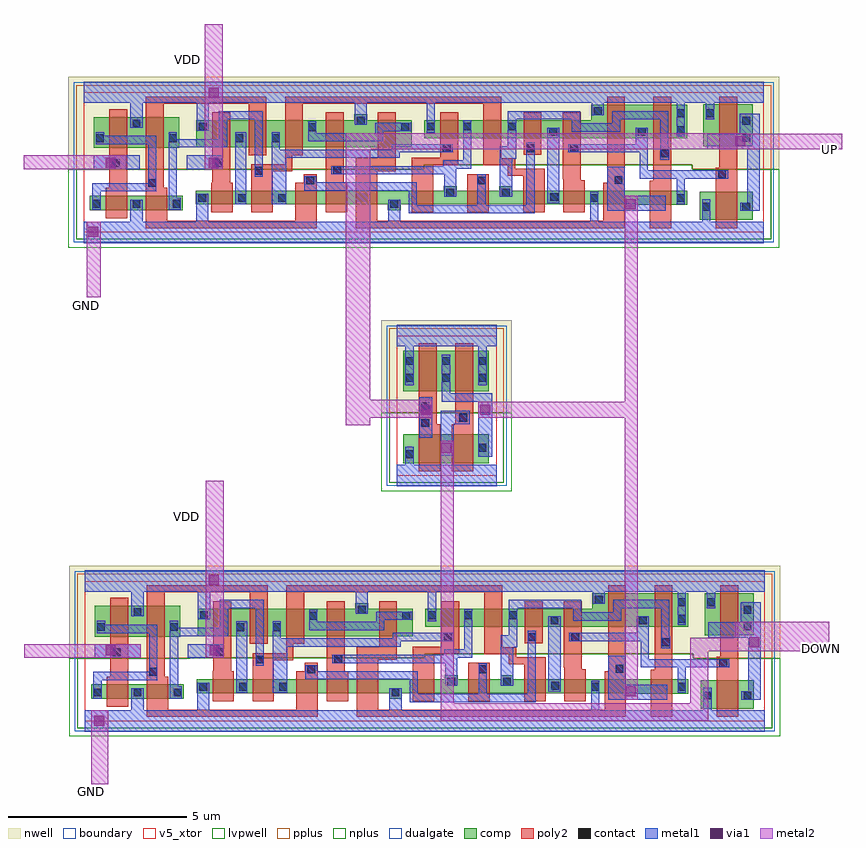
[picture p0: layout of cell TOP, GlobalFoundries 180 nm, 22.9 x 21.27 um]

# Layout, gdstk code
import gdstk
lib = gdstk.Library(unit=1e-6, precision=1e-09)
def R(c, l, rs):  # rectangles x0, y0, x1, y1
    for r in rs: c.add(gdstk.rectangle(r[:2], r[2:], *l))
def A(c, l, x, y, w, h, nx, ny, dx, dy):  # array of equal rectangles
    R(c, l, [(x+i*dx, y+j*dy, x+i*dx+w, y+j*dy+h) for i in range(nx) for j in range(ny)])
def P(c, l, *ps):  # polygons
    for p in ps: c.add(gdstk.Polygon(p, *l))
boundary = (0, 0)
nwell = (21, 0)
comp = (22, 0)
poly2 = (30, 0)
pplus = (31, 0)
nplus = (32, 0)
contact = (33, 0)
metal1 = (34, 0)
via1 = (35, 0)
metal2 = (36, 0)
dualgate = (55, 0)
v5_xtor = (112, 1)
lvpwell = (204, 0)

gf180mcu_fd_sc_mcu7t5v0_ = lib.new_cell('gf180mcu_fd_sc_mcu7t5v0__dffnrnq_1')
R(gf180mcu_fd_sc_mcu7t5v0_, boundary, [(0,0,19.04,3.92)])
P(gf180mcu_fd_sc_mcu7t5v0_, nwell, [(-0.43,1.76),(-0.43,4.35),(19.47,4.35),(19.47,1.76),(17.04,1.76),(17.04,1.885),(9.525,1.885),(9.525,1.77),(2.96,1.77),(2.96,1.76)])
R(gf180mcu_fd_sc_mcu7t5v0_, comp, [(17.25,0.345,18.73,1.14), (0.18,0.62,2.78,1.025), (0.28,2.36,2.68,3.225), (17.35,2.405,18.73,3.58)])
P(gf180mcu_fd_sc_mcu7t5v0_, comp, [(3.16,2.38),(3.16,3.14),(7.58,3.14),(7.58,3.3),(7.94,3.3),(7.94,3.14),(9.18,3.14),(9.18,2.38)],
  [(8.52,0.62),(8.52,0.78),(3.14,0.78),(3.14,1.17),(10.08,1.17),(10.08,1.285),(10.44,1.285),(10.44,1.17),(11.64,1.17),(11.64,1.285),(12,1.285),(12,1.17),(16.89,1.17),(16.89,0.77),(15.45,0.77),(15.45,0.78),(8.88,0.78),(8.88,0.62)],
  [(9.54,2.635),(9.54,3.14),(14.21,3.14),(14.21,3.575),(16.89,3.575),(16.89,2.635)])
R(gf180mcu_fd_sc_mcu7t5v0_, poly2, [(10.74,0.56,11.34,1.63), (12.315,2.175,12.815,3.36)])
P(gf180mcu_fd_sc_mcu7t5v0_, poly2, [(0.62,0.4),(0.62,1.245),(0.72,1.245),(0.72,3.45),(1.22,3.45),(1.22,0.4)],
  [(3.58,0.56),(3.58,1.39),(3.6,1.39),(3.6,3.36),(4.1,3.36),(4.1,1.39),(4.18,1.39),(4.18,0.56)],
  [(1.74,0.12),(1.74,3.8),(5.12,3.8),(5.12,2.16),(4.62,2.16),(4.62,3.6),(2.24,3.6),(2.24,1.245),(2.34,1.245),(2.34,0.32),(5.92,0.32),(5.92,1.39),(6.16,1.39),(6.16,1.63),(6.52,1.63),(6.52,0.12)],
  [(6.78,0.56),(6.78,3.36),(7.28,3.36),(7.28,1.39),(7.38,1.39),(7.38,0.56)],
  [(9.18,0.56),(9.18,2.08),(9.98,2.08),(9.98,3.36),(10.48,3.36),(10.48,1.88),(9.78,1.88),(9.78,0.56)],
  [(4.7,0.56),(4.7,1.905),(5.64,1.905),(5.64,3.8),(11.69,3.8),(11.69,2.07),(12.075,2.07),(12.075,1.785),(12.91,1.785),(12.91,0.56),(12.31,0.56),(12.31,1.585),(11.875,1.585),(11.875,1.87),(11.19,1.87),(11.19,3.6),(6.14,3.6),(6.14,2.16),(5.84,2.16),(5.84,1.705),(5.3,1.705),(5.3,0.56)],
  [(13.43,0.56),(13.43,1.505),(13.41,1.505),(13.41,3.36),(13.91,3.36),(13.91,1.455),(14.03,1.455),(14.03,0.56)],
  [(7.62,0.12),(7.62,2.08),(8.24,2.08),(8.24,3.36),(8.74,3.36),(8.74,1.715),(8.22,1.715),(8.22,0.32),(14.55,0.32),(14.55,1.39),(14.65,1.39),(14.65,3.8),(15.15,3.8),(15.15,0.12)],
  [(15.85,0.12),(15.85,1.44),(15.95,1.44),(15.95,3.8),(16.45,3.8),(16.45,0.12)],
  [(17.69,0.12),(17.69,1.8),(17.79,1.8),(17.79,3.8),(18.29,3.8),(18.29,0.12)])
P(gf180mcu_fd_sc_mcu7t5v0_, pplus, [(-0.2,1.76),(-0.2,4.12),(19.24,4.12),(19.24,1.76),(17.04,1.76),(17.04,1.885),(9.525,1.885),(9.525,1.77),(2.96,1.77),(2.96,1.76)])
P(gf180mcu_fd_sc_mcu7t5v0_, nplus, [(-0.2,-0.2),(-0.2,1.76),(2.96,1.76),(2.96,1.77),(9.525,1.77),(9.525,1.885),(17.04,1.885),(17.04,1.76),(19.24,1.76),(19.24,-0.2)])
A(gf180mcu_fd_sc_mcu7t5v0_, contact, 0.25, 0.69, 0.22, 0.22, 3, 1, 1.12, 0)
A(gf180mcu_fd_sc_mcu7t5v0_, contact, 3.21, 0.85, 0.22, 0.22, 3, 1, 1.12, 0)
R(gf180mcu_fd_sc_mcu7t5v0_, contact, [(17.32,0.605,17.54,0.825), (18.44,0.605,18.66,0.825), (8.59,0.69,8.81,0.91), (14.18,0.85,14.4,1.07), (16.6,0.85,16.82,1.07), (13.06,0.88,13.28,1.1), (10.15,0.995,10.37,1.215), (11.71,0.995,11.93,1.215), (1.81,1.27,2.03,1.49), (6.23,1.34,6.45,1.56), (11.03,1.34,11.25,1.56), (14.86,1.355,15.08,1.575), (17.76,1.51,17.98,1.73), (4.79,1.615,5.01,1.835), (6.99,1.63,7.21,1.85), (0.79,1.82,1.01,2.04), (3.67,1.835,3.89,2.055), (16.16,2.095,16.38,2.315), (10.05,2.245,10.27,2.465), (12.4,2.245,12.62,2.465), (13.62,2.245,13.84,2.465), (4.25,2.52,4.47,2.74), (5.27,2.52,5.49,2.74), (0.35,2.525,0.57,2.745), (2.39,2.525,2.61,2.745), (18.44,2.54,18.66,2.76), (13.04,2.705,13.26,2.925), (15.51,2.705,15.73,2.925), (16.6,2.75,16.82,2.97), (6.29,2.835,6.51,3.055), (8.89,2.835,9.11,3.055), (3.23,2.85,3.45,3.07), (9.61,2.85,9.83,3.07), (10.63,2.85,10.85,3.07), (11.88,2.85,12.1,3.07), (1.37,2.935,1.59,3.155), (7.65,3.01,7.87,3.23), (18.44,3.01,18.66,3.23), (16.6,3.22,16.82,3.44), (17.42,3.22,17.64,3.44), (14.28,3.285,14.5,3.505)])
R(gf180mcu_fd_sc_mcu7t5v0_, metal1, [(4.245,0.79,4.555,2.8), (12.98,0.82,13.32,2.93), (0.29,1.77,1.575,2.15), (2.89,1.77,3.895,2.15)])
P(gf180mcu_fd_sc_mcu7t5v0_, metal1, [(0.245,0.63),(0.245,1.375),(1.805,1.375),(1.805,2.465),(0.345,2.465),(0.345,2.805),(0.575,2.805),(0.575,2.7),(2.035,2.7),(2.035,1.145),(0.475,1.145),(0.475,0.63)],
  [(2.385,0.63),(2.385,2.805),(2.615,2.805),(2.615,2.61),(3.785,2.61),(3.785,3.39),(5.015,3.39),(5.015,1.555),(4.785,1.555),(4.785,3.16),(4.015,3.16),(4.015,2.38),(2.615,2.38),(2.615,0.97),(2.715,0.97),(2.715,0.63)],
  [(6.285,2.545),(6.285,3.115),(6.515,3.115),(6.515,2.775),(8.16,2.775),(8.16,3.06),(9.17,3.06),(9.17,2.83),(8.39,2.83),(8.39,2.545)],
  [(5.265,0.79),(5.265,2.8),(5.495,2.8),(5.495,2.315),(8.62,2.315),(8.62,2.47),(10.33,2.47),(10.33,2.24),(8.85,2.24),(8.85,2.085),(5.675,2.085),(5.675,0.79)],
  [(10.09,0.99),(10.09,1.625),(6.93,1.625),(6.93,1.855),(10.06,1.855),(10.06,2.01),(10.625,2.01),(10.625,3.13),(10.855,3.13),(10.855,1.78),(10.43,1.78),(10.43,0.99)],
  [(9.1,0.53),(9.1,1.165),(6.17,1.165),(6.17,1.565),(6.515,1.565),(6.515,1.395),(9.33,1.395),(9.33,0.76),(11.025,0.76),(11.025,1.62),(11.255,1.62),(11.255,0.76),(12.395,0.76),(12.395,2.525),(12.625,2.525),(12.625,0.53)],
  [(14.65,0.6),(14.65,1.83),(15.14,1.83),(15.14,1.02),(16.3,1.02),(16.3,0.6)],
  [(11.645,0.99),(11.645,2.405),(11.875,2.405),(11.875,3.39),(13.9,3.39),(13.9,3.05),(14.79,3.05),(14.79,3.39),(16.365,3.39),(16.365,2.375),(16.385,2.375),(16.385,2.035),(16.135,2.035),(16.135,3.16),(15.02,3.16),(15.02,2.815),(13.67,2.815),(13.67,3.16),(12.105,3.16),(12.105,2.065),(11.995,2.065),(11.995,0.99)],
  [(16.595,0.79),(16.595,1.505),(15.56,1.505),(15.56,2.235),(13.56,2.235),(13.56,2.47),(15.45,2.47),(15.45,2.93),(15.79,2.93),(15.79,1.735),(18.04,1.735),(18.04,1.505),(16.825,1.505),(16.825,0.79)],
  [(18.38,0.6),(18.38,0.83),(18.57,0.83),(18.57,2.33),(17.45,2.33),(17.45,2.765),(18.365,2.765),(18.365,3.32),(18.92,3.32),(18.92,0.6)],
  [(0,-0.3),(0,0.3),(1.31,0.3),(1.31,0.915),(1.65,0.915),(1.65,0.3),(3.15,0.3),(3.15,1.075),(3.49,1.075),(3.49,0.3),(8.53,0.3),(8.53,0.915),(8.87,0.915),(8.87,0.3),(14.175,0.3),(14.175,1.13),(14.405,1.13),(14.405,0.3),(17.315,0.3),(17.315,0.93),(17.545,0.93),(17.545,0.3),(19.04,0.3),(19.04,-0.3)],
  [(16.595,2.69),(16.595,3.62),(14.56,3.62),(14.56,3.28),(14.22,3.28),(14.22,3.62),(9.835,3.62),(9.835,2.79),(9.605,2.79),(9.605,3.62),(7.93,3.62),(7.93,3.005),(7.59,3.005),(7.59,3.62),(3.51,3.62),(3.51,2.845),(3.17,2.845),(3.17,3.62),(1.65,3.62),(1.65,2.93),(1.31,2.93),(1.31,3.62),(0,3.62),(0,4.22),(19.04,4.22),(19.04,3.62),(17.645,3.62),(17.645,3.16),(17.415,3.16),(17.415,3.62),(16.825,3.62),(16.825,2.69)])
R(gf180mcu_fd_sc_mcu7t5v0_, dualgate, [(-0.28,-0.28,19.32,4.2)])
R(gf180mcu_fd_sc_mcu7t5v0_, v5_xtor, [(0,0,19.04,3.92)])
P(gf180mcu_fd_sc_mcu7t5v0_, lvpwell, [(-0.43,-0.43),(-0.43,1.76),(2.96,1.76),(2.96,1.77),(9.525,1.77),(9.525,1.885),(17.04,1.885),(17.04,1.76),(19.47,1.76),(19.47,-0.43)])
gf180mcu_fd_sc_mcu7t5v0_.add(gdstk.Label('D', (3.64,1.96), layer=34, texttype=10))
gf180mcu_fd_sc_mcu7t5v0_.add(gdstk.Label('VSS', (1.4,0), layer=34, texttype=10))
gf180mcu_fd_sc_mcu7t5v0_.add(gdstk.Label('CLKN', (0.84,1.96), layer=34, texttype=10))
gf180mcu_fd_sc_mcu7t5v0_.add(gdstk.Label('RN', (15.4,0.84), layer=34, texttype=10))
gf180mcu_fd_sc_mcu7t5v0_.add(gdstk.Label('Q', (18.76,1.96), layer=34, texttype=10))
gf180mcu_fd_sc_mcu7t5v0_.add(gdstk.Label('VDD', (1.4,3.92), layer=34, texttype=10))
gf180mcu_fd_sc_mcu7t5v0_.add(gdstk.Label('& Vendor GLOBALFOUNDRIES', (0,2), layer=63, texttype=63))
gf180mcu_fd_sc_mcu7t5v0_.add(gdstk.Label('& Product GF018hv5v_mcu_sc7', (0,1.5), layer=63, texttype=63))
gf180mcu_fd_sc_mcu7t5v0_.add(gdstk.Label('& Version 2015q2v1', (0,1), layer=63, texttype=63))
gf180mcu_fd_sc_mcu7t5v0_.add(gdstk.Label('& Metric 1.00', (0,0.5), layer=63, texttype=63))
gf180mcu_fd_sc_mcu7t5v0_.add(gdstk.Label('VNW', (0.345,3.92), layer=21, texttype=10))
gf180mcu_fd_sc_mcu7t5v0_.add(gdstk.Label('VPW', (0.34,-0.085), layer=204, texttype=10))

c_gf180mcu_fd_sc_mcu7t5v0_ = lib.new_cell('gf180mcu_fd_sc_mcu7t5v0__nand2_1')
R(c_gf180mcu_fd_sc_mcu7t5v0_, boundary, [(0,0,2.8,3.92)])
R(c_gf180mcu_fd_sc_mcu7t5v0_, nwell, [(-0.43,1.76,3.23,4.35)])
R(c_gf180mcu_fd_sc_mcu7t5v0_, comp, [(0.185,0.34,2.585,1.16), (0.185,2.36,2.585,3.49)])
P(c_gf180mcu_fd_sc_mcu7t5v0_, poly2, [(0.625,0.12),(0.625,3.71),(1.125,3.71),(1.125,1.44),(1.225,1.44),(1.225,0.12)],
  [(1.545,0.12),(1.545,1.44),(1.645,1.44),(1.645,3.71),(2.145,3.71),(2.145,0.12)])
R(c_gf180mcu_fd_sc_mcu7t5v0_, pplus, [(-0.2,1.76,3,4.12)])
R(c_gf180mcu_fd_sc_mcu7t5v0_, nplus, [(-0.2,-0.2,3,1.76)])
A(c_gf180mcu_fd_sc_mcu7t5v0_, contact, 0.255, 2.63, 0.22, 0.22, 3, 2, 1.02, 0.47)
R(c_gf180mcu_fd_sc_mcu7t5v0_, contact, [(0.255,0.485,0.475,0.705), (2.295,0.675,2.515,0.895), (0.695,1.365,0.915,1.585), (1.755,1.515,1.975,1.735), (0.695,1.835,0.915,2.055)])
R(c_gf180mcu_fd_sc_mcu7t5v0_, metal1, [(0.635,1.06,1,2.19)])
P(c_gf180mcu_fd_sc_mcu7t5v0_, metal1, [(1.24,0.555),(1.24,1.82),(2.055,1.82),(2.055,1.44),(1.605,1.44),(1.605,0.555)],
  [(2.29,0.53),(2.29,2.07),(1.27,2.07),(1.27,3.38),(1.5,3.38),(1.5,2.3),(2.68,2.3),(2.68,0.53)],
  [(0,-0.3),(0,0.3),(0.25,0.3),(0.25,0.805),(0.48,0.805),(0.48,0.3),(2.8,0.3),(2.8,-0.3)],
  [(0.25,2.53),(0.25,3.62),(0,3.62),(0,4.22),(2.8,4.22),(2.8,3.62),(2.52,3.62),(2.52,2.53),(2.29,2.53),(2.29,3.62),(0.48,3.62),(0.48,2.53)])
R(c_gf180mcu_fd_sc_mcu7t5v0_, dualgate, [(-0.28,-0.28,3.08,4.2)])
R(c_gf180mcu_fd_sc_mcu7t5v0_, v5_xtor, [(0,0,2.8,3.92)])
R(c_gf180mcu_fd_sc_mcu7t5v0_, lvpwell, [(-0.43,-0.43,3.23,1.76)])
c_gf180mcu_fd_sc_mcu7t5v0_.add(gdstk.Label('VDD', (1.4,3.905), layer=34, texttype=10))
c_gf180mcu_fd_sc_mcu7t5v0_.add(gdstk.Label('VSS', (1.4,-0.015), layer=34, texttype=10))
c_gf180mcu_fd_sc_mcu7t5v0_.add(gdstk.Label('ZN', (2.52,1.96), layer=34, texttype=10))
c_gf180mcu_fd_sc_mcu7t5v0_.add(gdstk.Label('A1', (1.4,1.4), layer=34, texttype=10))
c_gf180mcu_fd_sc_mcu7t5v0_.add(gdstk.Label('A2', (0.84,1.4), layer=34, texttype=10))
c_gf180mcu_fd_sc_mcu7t5v0_.add(gdstk.Label('& Vendor GLOBALFOUNDRIES', (0,2), layer=63, texttype=63))
c_gf180mcu_fd_sc_mcu7t5v0_.add(gdstk.Label('& Product GF018hv5v_mcu_sc7', (0,1.5), layer=63, texttype=63))
c_gf180mcu_fd_sc_mcu7t5v0_.add(gdstk.Label('& Version 2015q2v1', (0,1), layer=63, texttype=63))
c_gf180mcu_fd_sc_mcu7t5v0_.add(gdstk.Label('& Metric 1.00', (0,0.5), layer=63, texttype=63))
c_gf180mcu_fd_sc_mcu7t5v0_.add(gdstk.Label('VNW', (0.345,3.92), layer=21, texttype=10))
c_gf180mcu_fd_sc_mcu7t5v0_.add(gdstk.Label('VPW', (0.34,-0.085), layer=204, texttype=10))

top = lib.new_cell('TOP')
R(top, via1, [(-2.785,-3.085,-2.505,-2.805), (12.09,-2.26,12.37,-1.98), (-2.47,-1.1,-2.19,-0.82), (0.44,-1.1,0.72,-0.82), (15.54,-0.88,15.82,-0.6), (0.41,0.87,0.69,1.15), (6.92,4.56,7.2,4.84), (6.35,5.62,6.63,5.9), (8.01,5.62,8.29,5.9), (-2.96,10.6,-2.68,10.88), (12.09,11.37,12.37,11.65), (-2.47,12.53,-2.19,12.81), (0.41,12.53,0.69,12.81), (15.145,13.14,15.425,13.42), (0.41,14.5,0.69,14.78)])
R(top, metal2, [(-2.88,-4.71,-2.405,-2.65), (6.91,-2.94,7.275,4.9), (6.91,-2.94,12.82,-2.45), (12.53,-2.94,14.4,-2.45), (13.89,-2.94,14.39,-0.62), (12.05,-2.35,12.415,11.75), (-4.75,-1.18,-1.485,-0.8), (0.333,-1.18,0.835,3.78), (13.89,-0.99,15.86,-0.62), (15.13,-0.99,15.86,-0.17), (15.13,-0.99,17.78,-0.17), (4.248,5.33,4.93,13.505), (7.96,5.54,12.415,5.99), (4.248,5.545,6.67,6.04), (-3,8.91,-2.61,11.03), (-4.76,12.5,-1.89,12.88), (0.303,12.5,0.805,16.56), (4.248,13.06,15.48,13.505), (15.03,13.06,18.14,13.495)])
top.add(gdstk.Reference(gf180mcu_fd_sc_mcu7t5v0_, (-3.06,-2.95)))
top.add(gdstk.Reference(gf180mcu_fd_sc_mcu7t5v0_, (-3.09,10.73)))
top.add(gdstk.Reference(c_gf180mcu_fd_sc_mcu7t5v0_, (5.67,3.92)))
top.add(gdstk.Label('VDD', (-0.17,15.58), layer=34, texttype=10))
top.add(gdstk.Label('VDD', (-0.21,2.79), layer=34, texttype=10))
top.add(gdstk.Label('CLK_IN', (-6.12,12.35), layer=34, texttype=10))
top.add(gdstk.Label('CLK_FB', (-6.37,-1.27), layer=34, texttype=10))
top.add(gdstk.Label('UP', (17.79,13.04), layer=34, texttype=10))
top.add(gdstk.Label('DOWN', (17.57,-0.91), layer=34, texttype=10))
top.add(gdstk.Label('GND', (-3.02,8.68), layer=34, texttype=10))
top.add(gdstk.Label('GND', (-2.86,-4.92), layer=34, texttype=10))

lib.write_gds('TOP.gds')
